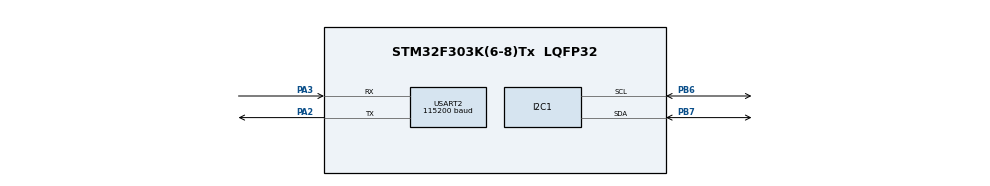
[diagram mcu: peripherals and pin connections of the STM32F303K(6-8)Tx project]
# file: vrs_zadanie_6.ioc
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I2C1.I2C_Fall_Time=0
I2C1.I2C_Rise_Time=0
I2C1.OwnAddress=1
Mcu.Family=STM32F3
Mcu.Name=STM32F303K(6-8)Tx
Mcu.Package=LQFP32
NVIC.PriorityGroup=NVIC_PRIORITYGROUP_4
PA2.Mode=Asynchronous
PA2.Signal=USART2_TX
PA3.Mode=Asynchronous
PA3.Signal=USART2_RX
PB6.Mode=I2C
PB6.Signal=I2C1_SCL
PB7.Mode=I2C
PB7.Signal=I2C1_SDA
ProjectManager.HeapSize=0x200
ProjectManager.StackSize=0x400
ProjectManager.TargetToolchain=STM32CubeIDE
RCC.AHBFreq_Value=8000000
RCC.APB1Freq_Value=8000000
RCC.APB2Freq_Value=8000000
RCC.CortexFreq_Value=8000000
RCC.HSE_VALUE=8000000
RCC.HSI_VALUE=8000000
RCC.SYSCLKFreq_VALUE=8000000
USART2.BaudRate=115200
USART2.VirtualMode-Asynchronous=VM_ASYNC
board=custom

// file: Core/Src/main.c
/* USER CODE BEGIN Header */
/**
  ******************************************************************************
  * @file           : main.c
  * @brief          : Main program body
  ******************************************************************************
  * @attention
  *
  * Copyright (c) 2026 STMicroelectronics.
  * All rights reserved.
  *
  * This software is licensed under terms that can be found in the LICENSE file
  * in the root directory of this software component.
  * If no LICENSE file comes with this software, it is provided AS-IS.
  *
  ******************************************************************************
  */
/* USER CODE END Header */
#include "main.h"
#include "i2c.h"
#include "usart.h"
#include "gpio.h"

/* USER CODE BEGIN Includes */
#include "hts221.h"
#include "lps25hb.h"
#include "csv.h"
#include "stm32f3xx_ll_usart.h"
/* USER CODE END Includes */

/* USER CODE BEGIN PD */

/* perioda udajov do pc v ms */
#define SEND_PERIOD_MS          100U

/* pocet merani tlaku na zemi */
#define REF_PRESSURE_SAMPLES    10U

/* USER CODE END PD */

void SystemClock_Config(void);
/* USER CODE BEGIN PFP */
static void usart2_send_string(const char *text);
static void sensors_fatal_error(const char *message);
/* USER CODE END PFP */

/* USER CODE BEGIN 0 */

/* odosielanie textu cez USART2 a uvolnenie tx registra */
static void usart2_send_string(const char *text)
{
  while (*text != '\0')
  {
    while (!LL_USART_IsActiveFlag_TXE(USART2))
    {
    }
    LL_USART_TransmitData8(USART2, (uint8_t)*text);
    text++;
  }

  /* pockaj kym sa odosle posledný bajt */
  while (!LL_USART_IsActiveFlag_TC(USART2))
  {
  }
}

/* error handling */
static void sensors_fatal_error(const char *message)
{
  while (1)
  {
    usart2_send_string(message);
    LL_mDelay(1000);
  }
}

/* USER CODE END 0 */

int main(void)
{

  /* MCU Configuration--------------------------------------------------------*/

  /* Reset of all peripherals, Initializes the Flash interface and the Systick. */
  LL_APB2_GRP1_EnableClock(LL_APB2_GRP1_PERIPH_SYSCFG);
  LL_APB1_GRP1_EnableClock(LL_APB1_GRP1_PERIPH_PWR);

  /* System interrupt init*/
  NVIC_SetPriorityGrouping(NVIC_PRIORITYGROUP_4);

  /* SysTick_IRQn interrupt configuration */
  NVIC_SetPriority(SysTick_IRQn, NVIC_EncodePriority(NVIC_GetPriorityGrouping(),15, 0));

  /* Configure the system clock */
  SystemClock_Config();

  /* Initialize all configured peripherals */
  MX_GPIO_Init();
  MX_I2C1_Init();
  MX_USART2_UART_Init();
  /* USER CODE BEGIN 2 */

  /* Registrácia callbackov,
   * komunikaciu dostanu ako ukazovatele z i2c.c */
  hts221_register_callbacks(i2c_read, i2c_write);
  lps25hb_register_callbacks(i2c_read, i2c_write);

  /* Inicializacia senzorov */
  uint8_t st = hts221_init();
  if (st != HTS221_OK)
  {
    sensors_fatal_error(st == HTS221_ERROR_ID ? "ERROR: HTS221 WHO_AM_I mismatch\r\n"
                                              : "ERROR: HTS221 I2C no response\r\n");
  }
  if (lps25hb_init() != LPS25HB_OK)
  {
    sensors_fatal_error("ERROR: LPS25HB init failed\r\n");
  }

  /* cas prvzch merani */
  LL_mDelay(500);

  /* referencny tlak na zemi.
   * vyska relativna k zaiatocnej polohe */
  int32_t ref_pressure_x100 = 0;
  {
    int32_t sum = 0;
    uint8_t valid = 0;
    for (uint8_t i = 0; i < REF_PRESSURE_SAMPLES; i++)
    {
      int32_t p;
      if (lps25hb_read_pressure(&p) == LPS25HB_OK)
      {
        sum += p;
        valid++;
      }
      LL_mDelay(100);
    }
    if (valid == 0U)
    {
      sensors_fatal_error("ERROR: LPS25HB read failed\r\n");
    }
    ref_pressure_x100 = sum / (int32_t)valid;
  }

  /* USER CODE END 2 */

  /* Infinite loop */
  while (1)
  {

    /* USER CODE BEGIN 3 */

    int16_t  temperature_x10;
    uint16_t humidity_x10;
    int32_t  pressure_x100;

    if ((hts221_read_temperature(&temperature_x10) == HTS221_OK) &&
        (hts221_read_humidity(&humidity_x10) == HTS221_OK) &&
        (lps25hb_read_pressure(&pressure_x100) == LPS25HB_OK))
    {
      /* post processing: relativny tlak */
      int32_t altitude_cm = lps25hb_calc_relative_altitude_cm(pressure_x100, ref_pressure_x100);

      char line[64];
      if (csv_format_line(line, sizeof(line), temperature_x10, humidity_x10,
                          pressure_x100, altitude_cm) > 0)
      {
        usart2_send_string(line);
      }
    }

    LL_mDelay(SEND_PERIOD_MS);
  }
  /* USER CODE END 3 */
}

void SystemClock_Config(void)
{
  LL_FLASH_SetLatency(LL_FLASH_LATENCY_0);
  while(LL_FLASH_GetLatency()!= LL_FLASH_LATENCY_0)
  {
  }
  LL_RCC_HSI_Enable();

   /* Wait till HSI is ready */
  while(LL_RCC_HSI_IsReady() != 1)
  {

  }
  LL_RCC_HSI_SetCalibTrimming(16);
  LL_RCC_SetAHBPrescaler(LL_RCC_SYSCLK_DIV_1);
  LL_RCC_SetAPB1Prescaler(LL_RCC_APB1_DIV_1);
  LL_RCC_SetAPB2Prescaler(LL_RCC_APB2_DIV_1);
  LL_RCC_SetSysClkSource(LL_RCC_SYS_CLKSOURCE_HSI);

   /* Wait till System clock is ready */
  while(LL_RCC_GetSysClkSource() != LL_RCC_SYS_CLKSOURCE_STATUS_HSI)
  {

  }
  LL_Init1msTick(8000000);
  LL_SetSystemCoreClock(8000000);
  LL_RCC_SetI2CClockSource(LL_RCC_I2C1_CLKSOURCE_HSI);
}

void Error_Handler(void)
{
  __disable_irq();
  while (1)
  {
  }
}
